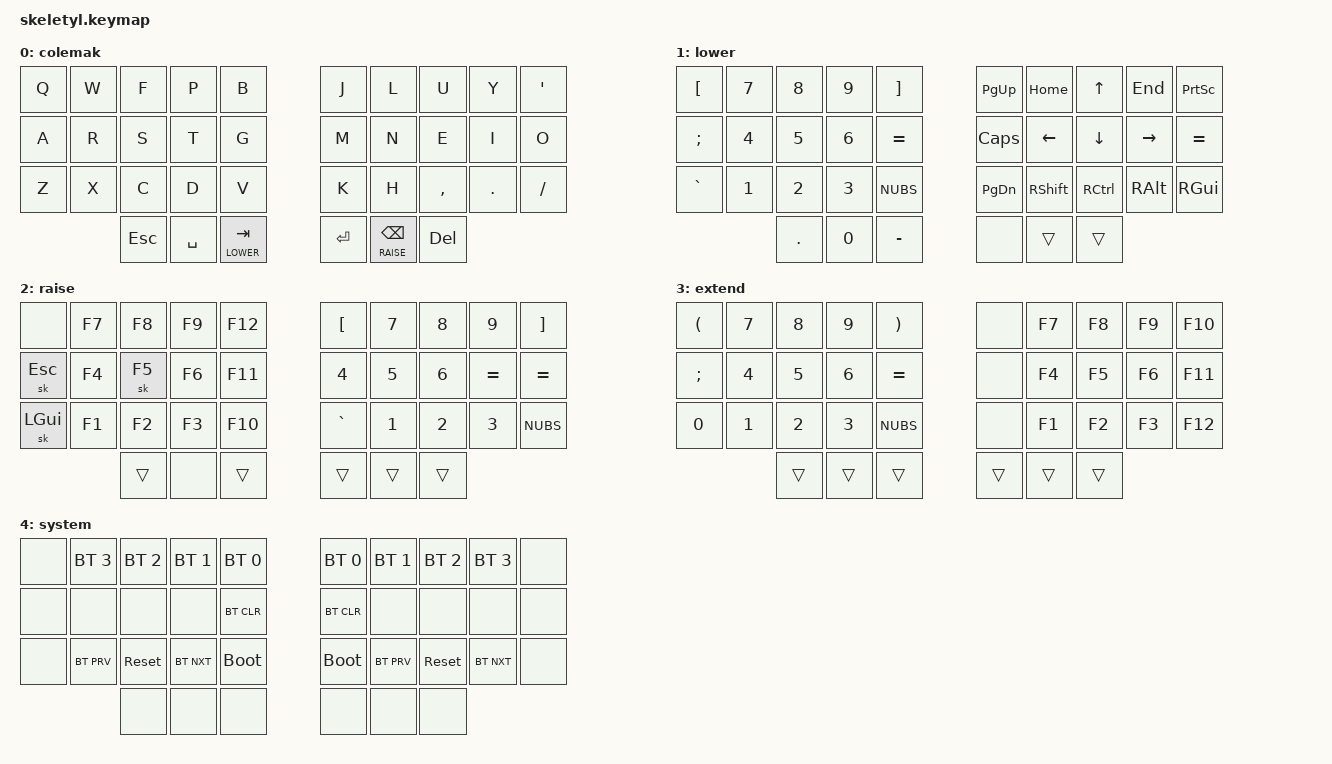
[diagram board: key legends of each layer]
/*
 * Copyright (c) 2023 Charly Delay <0xcharly>
 *
 * SPDX-License-Identifier: MIT
 */

#include <behaviors.dtsi>
#include <dt-bindings/zmk/bt.h>
#include <dt-bindings/zmk/ext_power.h>
#include <dt-bindings/zmk/keys.h>
#include <dt-bindings/zmk/rgb.h>

#define COLEMAK 0
#define LOWER 1
#define RAISE 2
#define EXTEND 3
#define SYSTEM 4

// Custom keycodes.
#define LAUNCHER (LG(SPACE))
#define CTL_TAB (LC(TAB))
#define RCS_TAB (LC(LS(TAB)))

#define EXTPOW_TOG &ext_power EXT_POWER_TOGGLE_CMD

// Adjust sticky-keys configuration.
&sk {
  release-after-ms = <1500>;
  quick-release;
};

// Adjust Caps Word configuration.
&caps_word {
  continue-list = <UNDERSCORE MINUS BACKSPACE MINUS>;
};

/ {
  // Conditional layers configuration, specifically tri-layer.
  conditional_layers {
    compatible = "zmk,conditional-layers";

    // Tri-layer LOWER + RAISE = EXTEND.
    num_tri_layer {
      if-layers = <LOWER RAISE>;
      then-layer = <EXTEND>;
    };
  };

  // Macros configuration, specifically character sequences.
  macros {
    // Cancel sticky mods.
    cancel: cancel_queued_sticky_mods {
      label = "Cancel sticky mods";
      compatible = "zmk,behavior-macro";
      #binding-cells = <0>;
      bindings = <&macro_tap &kp K_CANCEL>, <&macro_pause_for_release>;
    };

    // Right arrow macro: ->
    rarrow: right_arrow {
      label = "Right Arrow";
      compatible = "zmk,behavior-macro";
      #binding-cells = <0>;
      bindings = <&macro_tap &kp MINUS &kp GT>;
    };

    // Fat right arrow macro: =>
    frarrow: fat_right_arrow {
      label = "Fat Right Arrow";
      compatible = "zmk,behavior-macro";
      #binding-cells = <0>;
      bindings = <&macro_tap &kp EQUAL &kp GT>;
    };
  };

  /**
   * Combos configuration: only on base layer.
   *
   * Combo key positions:
   *
   *    0  1  2  3  4    5  6  7  8  9
   *   10 11 12 13 14    15 16 17 18 19
   *   20 21 22 23 24    25 26 27 28 29
   *         30 31 32    33 34 35
   */
  combos {
    compatible = "zmk,combos";

    // Failsafe reset on a 2-key combos.
    combo_sys_reset {
      timeout-ms = <50>;
      key-positions = <32 33>;
      bindings = <&sys_reset>;
    };
    combo_sys_reset_lhs {
      timeout-ms = <50>;
      key-positions = <30 32>;
      bindings = <&sys_reset>;
    };
    combo_sys_reset_rhs {
      timeout-ms = <50>;
      key-positions = <33 35>;
      bindings = <&sys_reset>;
    };

    // Cancel sticky mods failsafe.
    combo_cancel {
      timeout-ms = <50>;
      key-positions = <0 9>;
      bindings = <&cancel>;
      layers = <COLEMAK>;
    };

    // Caps Word on a 2-key combo.
    combo_caps_word {
      timeout-ms = <50>;
      key-positions = <2 7>;
      bindings = <&caps_word>;
      layers = <COLEMAK>;
    };
  };

  /**
   * Custom shifted keycode for access to convenience symbols from the base layer.
   *
   * Particularly useful for Gmail keyboard shortcuts.
   */
  behaviors {
    // Single quote -> Pound sign.
    sqt_hash: single_quote_pound {
      compatible = "zmk,behavior-mod-morph";
      label = "SINGLE_QUOTE_POUND";
      #binding-cells = <0>;
      bindings = <&kp SINGLE_QUOTE>, <&kp QUESTION>;
      mods = <(MOD_LSFT|MOD_RSFT)>;
    };
  
    // Comma -> Question mark.
    comma_qmark: comma_question {
      compatible = "zmk,behavior-mod-morph";
      label = "COMMA_QUESTION";
      #binding-cells = <0>;
      bindings = <&kp COMMA>, <&kp POUND>;
      mods = <(MOD_LSFT|MOD_RSFT)>;
    };
  
    // Period -> Exclamation mark.
    dot_excl: period_exclamation {
      compatible = "zmk,behavior-mod-morph";
      label = "PERIOD_EXCLAMATION";
      #binding-cells = <0>;
      bindings = <&kp PERIOD>, <&kp EXCLAMATION>;
      mods = <(MOD_LSFT|MOD_RSFT)>;
    };
  };

  keymap {
    compatible = "zmk,keymap";

    /** Traditional Colemak layout. */
    colemak {
      bindings = <
  /* ╭──────────────────────────────────────────────────────────────────╮ ╭──────────────────────────────────────────────────────────────────╮ */
       &kp Q        &kp W        &kp F        &kp P        &kp B            &kp J        &kp L        &kp U        &kp Y        &kp SQT
       &kp A        &kp R        &kp S        &kp T        &kp G            &kp M        &kp N        &kp E        &kp I        &kp O
       &kp Z        &kp X        &kp C        &kp D        &kp V            &kp K        &kp H        &kp COMMA    &kp DOT      &kp FSLH
  /* ╰──────────────────────────────────────────────────────────────────┤ ├──────────────────────────────────────────────────────────────────╯ */
                                 &kp ESC      &kp SPACE    &lt LOWER TAB    &kp ENTER    &lt RAISE BSPC  &kp DEL
  /*                           ╰────────────────────────────────────────╯ ╰────────────────────────────────────────╯                           */
      >;
    };

    lower {
      bindings = <
  /* ╭──────────────────────────────────────────────────────────────────╮ ╭──────────────────────────────────────────────────────────────────╮ */
       &kp LBKT     &kp N7       &kp N8       &kp N9       &kp RBKT         &kp PG_UP       &kp HOME     &kp UP       &kp END      &kp PSCRN
       &kp SEMI     &kp N4       &kp N5       &kp N6       &kp EQUAL        &kp CAPS        &kp LEFT     &kp DOWN     &kp RIGHT    &kp EQUAL
       &kp GRAVE    &kp N1       &kp N2       &kp N3       &kp NUBS         &kp PG_DN       &kp RSHIFT   &kp RCTRL    &kp RALT     &kp RGUI
  /* ╰──────────────────────────────────────────────────────────────────┤ ├──────────────────────────────────────────────────────────────────╯ */
                                 &kp DOT       &kp N0       &kp MINUS        &none          &trans       &trans
  /*                           ╰────────────────────────────────────────╯ ╰────────────────────────────────────────╯                           */
      >;
    };

    raise {
      bindings = <
  /* ╭──────────────────────────────────────────────────────────────────╮ ╭──────────────────────────────────────────────────────────────────╮ */
        &none        &kp F7       &kp F8       &kp F9       &kp F12           &kp LBKT      &kp N7       &kp N8       &kp N9       &kp RBKT
        &sk ESC      &kp F4       &sk F5       &kp F6       &kp F11           &kp N4        &kp N5       &kp N6       &kp EQUAL    &kp EQUAL
        &sk LGUI     &kp F1       &kp F2       &kp F3       &kp F10           &kp GRAVE     &kp N1       &kp N2       &kp N3       &kp NUBS
  /* ╰──────────────────────────────────────────────────────────────────┤ ├──────────────────────────────────────────────────────────────────╯ */
                                 &trans        &none         &trans            &trans       &trans       &trans
  /*                           ╰────────────────────────────────────────╯ ╰────────────────────────────────────────╯                           */
      >;
    };

    extend {
      bindings = <
  /* ╭──────────────────────────────────────────────────────────────────╮ ╭──────────────────────────────────────────────────────────────────╮ */
       &kp LPAR    &kp N7       &kp N8       &kp N9        &kp RPAR            &none        &kp F7     &kp F8     &kp F9     &kp F10
       &kp SEMI    &kp N4       &kp N5       &kp N6        &kp EQUAL           &none        &kp F4     &kp F5     &kp F6     &kp F11
       &kp N0      &kp N1       &kp N2       &kp N3        &kp NUBS            &none        &kp F1     &kp F2     &kp F3     &kp F12
  /* ╰──────────────────────────────────────────────────────────────────┤ ├──────────────────────────────────────────────────────────────────╯ */
                                 &trans      &trans        &trans              &trans       &trans     &trans
  /*                           ╰────────────────────────────────────────╯ ╰────────────────────────────────────────╯                           */
      >;
    };

    system {
      bindings = <
  /* ╭──────────────────────────────────────────────────────────────────╮ ╭──────────────────────────────────────────────────────────────────╮ */
       &none        &bt BT_SEL 3 &bt BT_SEL 2 &bt BT_SEL 1 &bt BT_SEL 0     &bt BT_SEL 0 &bt BT_SEL 1 &bt BT_SEL 2 &bt BT_SEL 3 &none
       &none        &none        &none        &none        &bt BT_CLR       &bt BT_CLR   &none        &none        &none        &none
       &none        &bt BT_PRV   &sys_reset   &bt BT_NXT   &bootloader      &bootloader  &bt BT_PRV   &sys_reset   &bt BT_NXT   &none
  /* ╰──────────────────────────────────────────────────────────────────┤ ├──────────────────────────────────────────────────────────────────╯ */
                                 &none        &none        &none            &none        &none        &none
  /*                           ╰────────────────────────────────────────╯ ╰────────────────────────────────────────╯                           */
      >;
    };
  };
};
